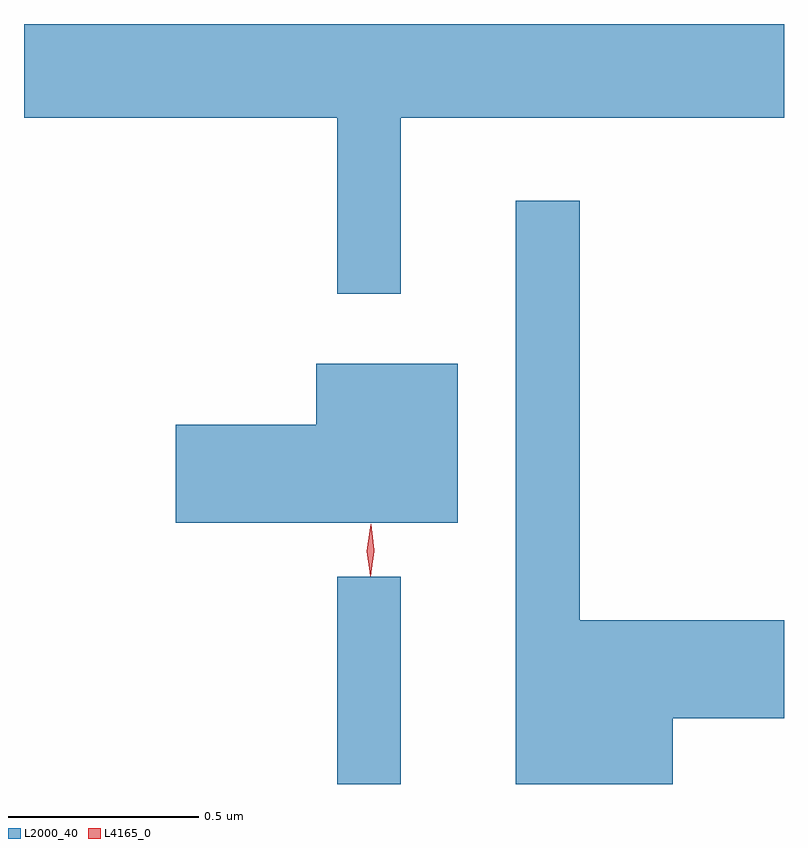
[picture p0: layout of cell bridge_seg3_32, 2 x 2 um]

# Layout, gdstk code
import gdstk
lib = gdstk.Library(unit=1e-6, precision=1e-09)
def R(c, l, rs):  # rectangles x0, y0, x1, y1
    for r in rs: c.add(gdstk.rectangle(r[:2], r[2:], *l))
def P(c, l, *ps):  # polygons
    for p in ps: c.add(gdstk.Polygon(p, *l))
L2000_40 = (2000, 40)
L4165_0 = (4165, 0)

bridge_seg3_32 = lib.new_cell('bridge_seg3_32')
R(bridge_seg3_32, L2000_40, [(1380.111,1181.983,1380.279,1182.528)])
P(bridge_seg3_32, L2000_40, [(1380.279,1183.736),(1381.287,1183.736),(1381.287,1183.983),(1379.287,1183.983),(1379.287,1183.736),(1380.111,1183.736),(1380.111,1183.273),(1380.279,1183.273)],
  [(1380.994,1182.156),(1381.287,1182.156),(1381.287,1182.414),(1380.749,1182.414),(1380.749,1183.518),(1380.581,1183.518),(1380.581,1181.983),(1380.994,1181.983)],
  [(1380.429,1183.089),(1380.056,1183.089),(1380.056,1182.929),(1379.686,1182.929),(1379.686,1182.671),(1380.429,1182.671)])
P(bridge_seg3_32, L4165_0, [(1380.198,1182.53),(1380.19,1182.598),(1380.2,1182.666),(1380.2,1182.666),(1380.201,1182.666),(1380.209,1182.598),(1380.199,1182.53),(1380.199,1182.53)],
  [(1380.198,1182.533),(1380.189,1182.596),(1380.198,1182.659),(1380.199,1182.66),(1380.199,1182.659),(1380.209,1182.596),(1380.199,1182.533),(1380.199,1182.533)])

lib.write_gds('bridge_seg3_32.gds')
